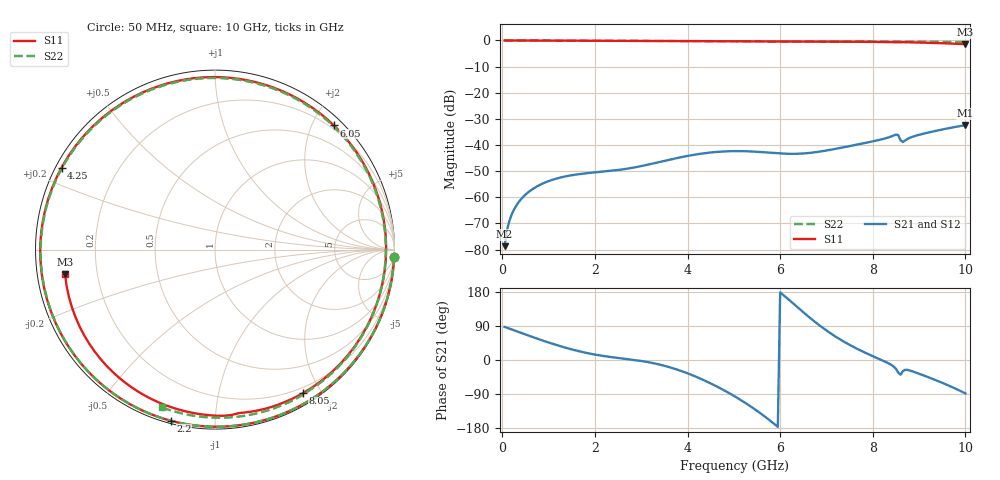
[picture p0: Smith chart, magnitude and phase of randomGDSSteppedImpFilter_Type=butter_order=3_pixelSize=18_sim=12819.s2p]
! freq	dB(S11)	phase(S11)	dB(S12)	phase(S12)
!  dB(S21)	phase(S21)	dB(S22)	phase(S22)
!S-par simulation data
#  GHz  S  DB  R 50
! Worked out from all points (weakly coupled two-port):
!   200 points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, 50 MHz to 10 GHz, reference 50 ohm
!   highest |S21| = -32.42 dB at 10 GHz (marker M1); lowest = -78.7 dB at 50 MHz (marker M2)
!   lowest |S11| = -1.4 dB at 10 GHz (marker M3), VSWR 12.07, Z = 4.17 - j4.07 ohm
!   |S11| at or under -10 dB: nowhere
!   |S22| runs from -0.7 to 0.0 dB; largest |S21 - S12| = 0
!   S11 on the Smith chart (normalised r, x): 50 MHz: 1, -47; 2.2 GHz: 0.01, -0.77; 4.25 GHz: 0.02, +0.25; 6.05 GHz: 0.14, +2.33; 8.05 GHz: 0.13, -1.78; 10 GHz: 0.08, -0.08
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0.05  -0.01 -2.4  -78.72 87.3  -78.72 87.3  -0.01 -2.2
0.1  -0.01 -4.8  -72.71 85.2  -72.71 85.2  -0.01 -4.4
0.2  -0.01 -9.6  -66.73 80.8  -66.73 80.8  -0.01 -8.7
0.5  -0.03 -24.0  -59.01 67.4  -59.01 67.4  -0.02 -21.7
1.15  -0.07 -54.9  -52.95 40.3  -52.95 40.3  -0.06 -49.5
1.75  -0.11 -83.2  -50.95 20.5  -50.95 20.5  -0.10 -74.6
2.2  -0.13 -104.5  -50.16 10.3  -50.16 10.3  -0.12 -93.2
2.75  -0.17 -130.8  -48.92 1.7  -48.92 1.7  -0.15 -115.9
3.4  -0.21 -163.0  -46.50 -12.1  -46.50 -12.1  -0.19 -143.1
4.25  -0.27 151.9  -43.44 -47.7  -43.44 -47.7  -0.25 179.0
5.05  -0.33 105.8  -42.35 -98.2  -42.35 -98.2  -0.32 139.2
5.55  -0.35 76.0  -42.66 -138.5  -42.66 -138.5  -0.36 111.6
6.05  -0.37 46.3  -43.27 173.4  -43.27 173.4  -0.40 82.1
6.7  -0.40 9.4  -42.91 105.6  -42.91 105.6  -0.42 42.6
7.35  -0.45 -24.6  -40.95 50.3  -40.95 50.3  -0.43 4.6
8.05  -0.56 -58.5  -38.42 7.4  -38.42 7.4  -0.45 -31.9
8.35  -0.64 -72.7  -37.05 -9.3  -37.05 -9.3  -0.47 -45.9
8.55  -0.72 -81.8  -36.20 -33.6  -36.20 -33.6  -0.50 -54.6
8.65  -0.65 -86.7  -38.88 -29.4  -38.88 -29.4  -0.49 -58.8
9.25  -0.92 -118.2  -35.03 -47.8  -35.03 -47.8  -0.54 -82.5
9.65  -1.16 -143.2  -33.54 -68.1  -33.54 -68.1  -0.60 -96.8
10  -1.44 -170.6  -32.42 -88.3  -32.42 -88.3  -0.65 -108.6
